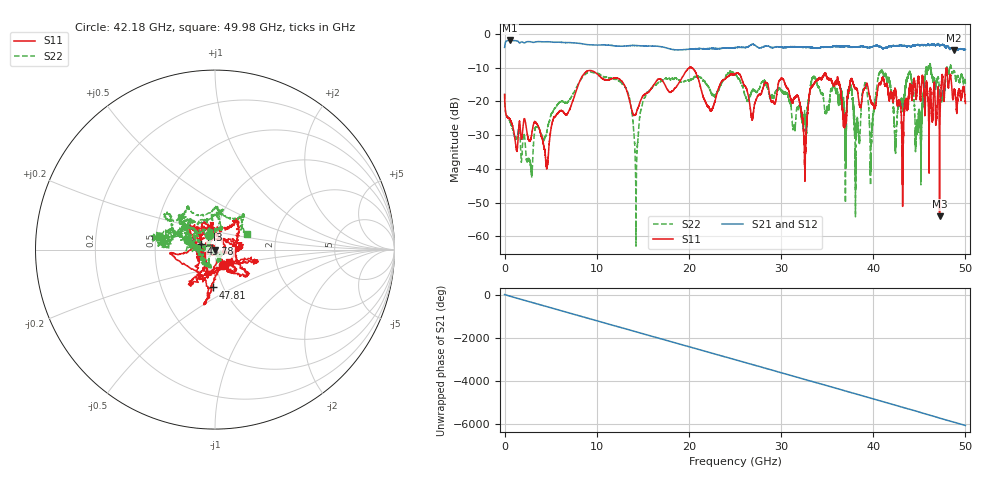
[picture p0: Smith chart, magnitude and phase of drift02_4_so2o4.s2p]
!Created with skrf (http://scikit-rf.org).
# Hz S RI R 50.0
!freq ReS11 ImS11 ReS21 ImS21 ReS12 ImS12 ReS22 ImS22
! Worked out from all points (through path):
!   10001 points, 300 kHz to 50 GHz, reference 50 ohm
!   highest |S21| = -1.99 dB at 585.3 MHz (marker M1); lowest = -4.9 dB at 48.77 GHz (marker M2)
!   group delay of S21, straight-line fit = 337 ps
!   lowest |S11| = -54.0 dB at 47.2 GHz (marker M3), VSWR 1.00, Z = 49.8 - j0.0654 ohm
!   |S11| at or under -10 dB: start of sweep to 20.06 GHz; 20.20875 GHz to 20.21339 GHz (4.644 MHz wide, 0.023 % of centre); 20.24 GHz to end of sweep (the widest 3 of 4)
!   |S22| runs from -62.9 to -8.8 dB; largest |S21 - S12| = 0.031
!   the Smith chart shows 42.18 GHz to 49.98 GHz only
!   S11 on the Smith chart (normalised r, x): 42.18 GHz: 1.07, -0.19; 43.78 GHz: 0.86, +0.05; 47.81 GHz: 0.89, -0.39; 49.98 GHz: 1.15, -0.16
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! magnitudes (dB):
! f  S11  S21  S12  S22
! 300 kHz  -18.0  -4.0  -4.0  -17.8
! 585.3 MHz  -25.3  -2.0  -2.0  -26.0
! 4.565 GHz  -40.1  -2.4  -2.4  -29.3
! 8.335 GHz  -13.0  -2.9  -2.9  -13.2
! 13.04 GHz  -15.4  -3.6  -3.6  -15.6
! 14.28 GHz  -23.7  -3.5  -3.5  -48.3
! 16.67 GHz  -13.4  -3.7  -3.7  -14.5
! 25 GHz  -12.0  -4.1  -4.1  -12.0
! 30.16 GHz  -13.4  -4.1  -4.1  -17.3
! 32.56 GHz  -39.5  -4.0  -3.9  -25.3
! 33.34 GHz  -15.9  -4.1  -4.1  -13.5
! 38.28 GHz  -16.9  -3.9  -3.9  -25.4
! 41.67 GHz  -18.6  -3.8  -3.9  -12.8
! 42.18 GHz  -20.4  -3.5  -3.5  -21.2
! 43.78 GHz  -21.7  -3.7  -3.6  -12.6
! 44.75 GHz  -17.1  -3.3  -3.3  -26.7
! 45.93 GHz  -18.9  -3.1  -3.0  -10.4
! 47.2 GHz  -54.0  -3.5  -3.5  -16.6
! 47.81 GHz  -13.5  -3.8  -3.8  -14.9
! 48.77 GHz  -17.3  -4.9  -4.8  -10.9
! 49.98 GHz  -19.9  -4.6  -4.6  -14.1
! 50 GHz  -20.6  -4.7  -4.6  -14.5
